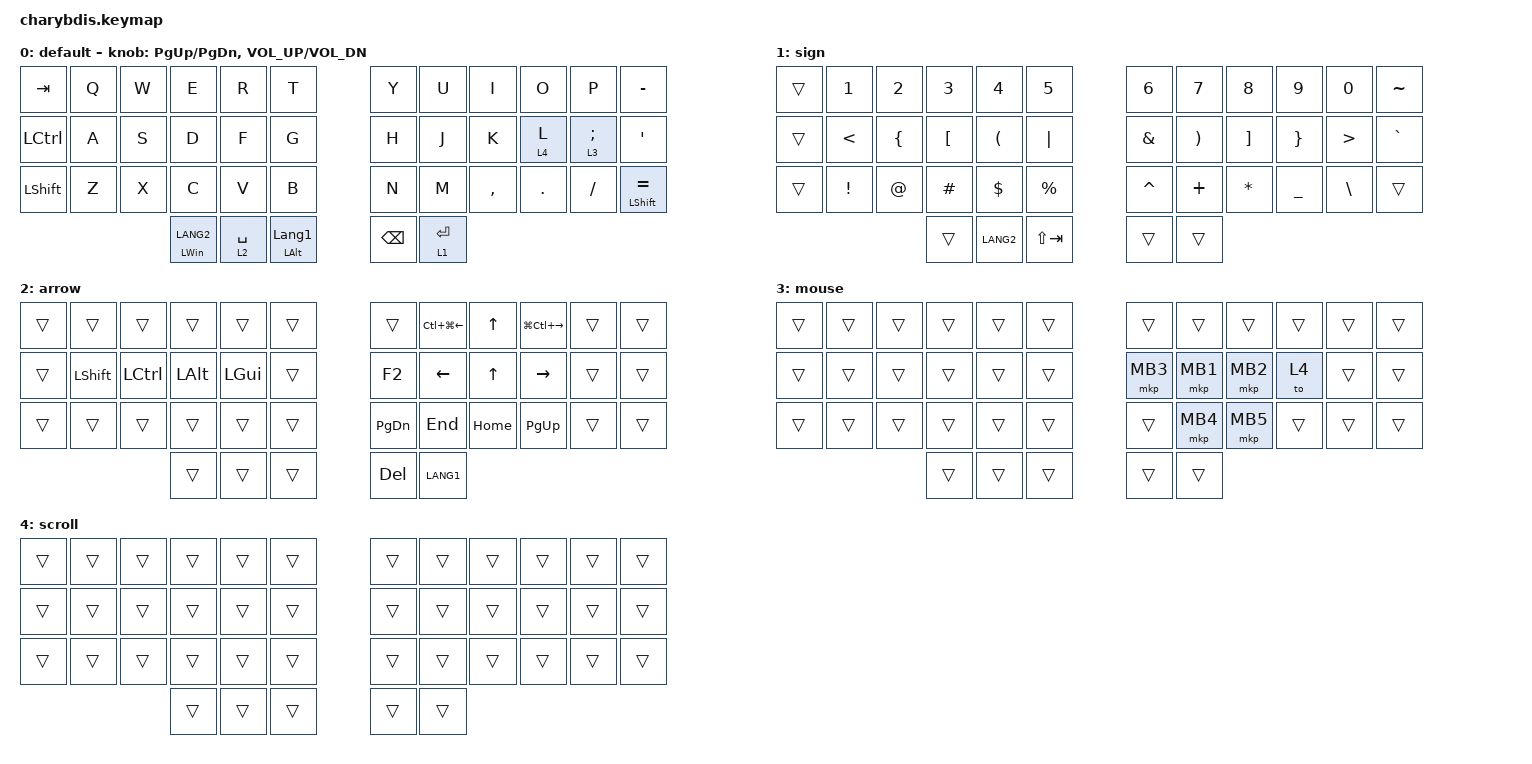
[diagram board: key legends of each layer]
#include <behaviors.dtsi>
#include <dt-bindings/zmk/keys.h>
#include <dt-bindings/zmk/pointing.h>
#include <dt-bindings/zmk/rgb.h>

&lt {
    tapping-term-ms = <200>;
    flavor = "balanced";
    quick-tap-ms = <150>;
};

/ {
    macros {
        To1_macro: To1_macro {
            compatible = "zmk,behavior-macro";
            label = "To1_macro";
            #binding-cells = <0>;
            bindings = <&rgb_ug RGB_EFF &rgb_ug RGB_COLOR_HSB(128,100,50) &to 0>;
        };

        To0_macro: To0_macro {
            compatible = "zmk,behavior-macro";
            label = "To0_macro";
            #binding-cells = <0>;
            bindings = <&rgb_ug RGB_EFR &to 0>;
        };

        To2_macro: To2_macro {
            compatible = "zmk,behavior-macro";
            label = "To2_macro";
            #binding-cells = <0>;
            bindings =
                <&to 0>,
                <&macro_wait_time 30>,
                <&rgb_ug RGB_COLOR_HSB(250,100,50)>;
        };
    };

    combos {
        compatible = "zmk,combos";

        L_CLICK {
            bindings = <&mkp LCLK>;
            key-positions = <19 20>;
        };

        R_CLICK {
            bindings = <&mkp RCLK>;
            key-positions = <20 21>;
        };
    };

    keymap {
        compatible = "zmk,keymap";

        default {
            bindings = <
&kp TAB         &kp Q  &kp W  &kp E               &kp R        &kp T                      &kp Y          &kp U        &kp I      &kp O       &kp P       &kp MINUS
&kp LCTRL       &kp A  &kp S  &kp D               &kp F        &kp G                      &kp H          &kp J        &kp K      &lt 4 L     &lt 3 SEMI  &kp SQT
&kp LEFT_SHIFT  &kp Z  &kp X  &kp C               &kp V        &kp B                      &kp N          &kp M        &kp COMMA  &kp PERIOD  &kp SLASH   &mt LSHIFT EQUAL
                              &mt LEFT_WIN LANG2  &lt 2 SPACE  &mt LEFT_ALT LANGUAGE_1    &kp BACKSPACE  &lt 1 ENTER
            >;

            sensor-bindings = <&inc_dec_kp PG_UP PG_DN &inc_dec_kp C_VOL_UP C_VOL_DN>;
        };

        sign {
            bindings = <
&trans  &kp N1    &kp N2    &kp N3    &kp N4     &kp N5         &kp N6     &kp N7    &kp N8     &kp N9     &kp N0         &kp TILDE
&trans  &kp LT    &kp LBRC  &kp LBKT  &kp LPAR   &kp PIPE       &kp AMPS   &kp RPAR  &kp RBKT   &kp RBRC   &kp GT         &kp GRAVE
&trans  &kp EXCL  &kp AT    &kp HASH  &kp DLLR   &kp PERCENT    &kp CARET  &kp PLUS  &kp ASTRK  &kp UNDER  &kp BACKSLASH  &trans
                            &trans    &kp LANG2  &kp LS(TAB)    &trans     &trans
            >;
        };

        arrow {
            bindings = <
&trans  &trans      &trans     &trans        &trans        &trans    &trans         &kp LC(LG(LEFT_ARROW))  &kp UP_ARROW  &kp LG(LC(RIGHT_ARROW))  &trans  &trans
&trans  &kp LSHIFT  &kp LCTRL  &kp LEFT_ALT  &kp LEFT_GUI  &trans    &kp F2         &kp LEFT_ARROW          &kp UP_ARROW  &kp RIGHT_ARROW          &trans  &trans
&trans  &trans      &trans     &trans        &trans        &trans    &kp PAGE_DOWN  &kp END                 &kp HOME      &kp PAGE_UP              &trans  &trans
                               &trans        &trans        &trans    &kp DEL        &kp LANG1
            >;
        };

        mouse {
            bindings = <
&trans  &trans  &trans  &trans  &trans  &trans    &trans    &trans    &trans    &trans  &trans  &trans
&trans  &trans  &trans  &trans  &trans  &trans    &mkp MB3  &mkp MB1  &mkp MB2  &to 4   &trans  &trans
&trans  &trans  &trans  &trans  &trans  &trans    &trans    &mkp MB4  &mkp MB5  &trans  &trans  &trans
                        &trans  &trans  &trans    &trans    &trans
            >;
        };

        scroll {
            bindings = <
&trans  &trans  &trans  &trans  &trans  &trans    &trans  &trans  &trans  &trans  &trans  &trans
&trans  &trans  &trans  &trans  &trans  &trans    &trans  &trans  &trans  &trans  &trans  &trans
&trans  &trans  &trans  &trans  &trans  &trans    &trans  &trans  &trans  &trans  &trans  &trans
                        &trans  &trans  &trans    &trans  &trans
            >;
        };
    };
};
